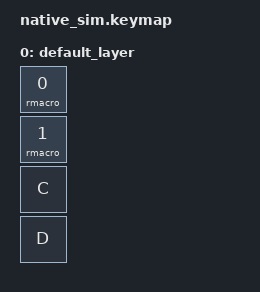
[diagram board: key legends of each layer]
#include <dt-bindings/zmk/keys.h>
#include <behaviors.dtsi>
#include <behaviors/runtime_macro.dtsi>
#include <dt-bindings/zmk/kscan_mock.h>

/*
 * No devicetree default macro node here on purpose: DT-default seeding
 * timing/coexistence with other created macros is covered by the dedicated
 * tests/dt-defaults suite. `&rmacro 1` below targets a slot no test ever
 * creates a macro in, exercising the "empty slot plays nothing" contract
 * (see zmk_runtime_macro_play's doc comment).
 */
/ {
	keymap {
		compatible = "zmk,keymap";

		default_layer {
			bindings = <
			&rmacro 0
			&rmacro 1
			&kp C
			&kp D
			>;
		};
	};
};

&kscan {
	events = <
	ZMK_MOCK_PRESS(0,0,10)
	ZMK_MOCK_RELEASE(0,0,10)
	ZMK_MOCK_PRESS(0,1,10)
	ZMK_MOCK_RELEASE(0,1,10)
	>;
};
